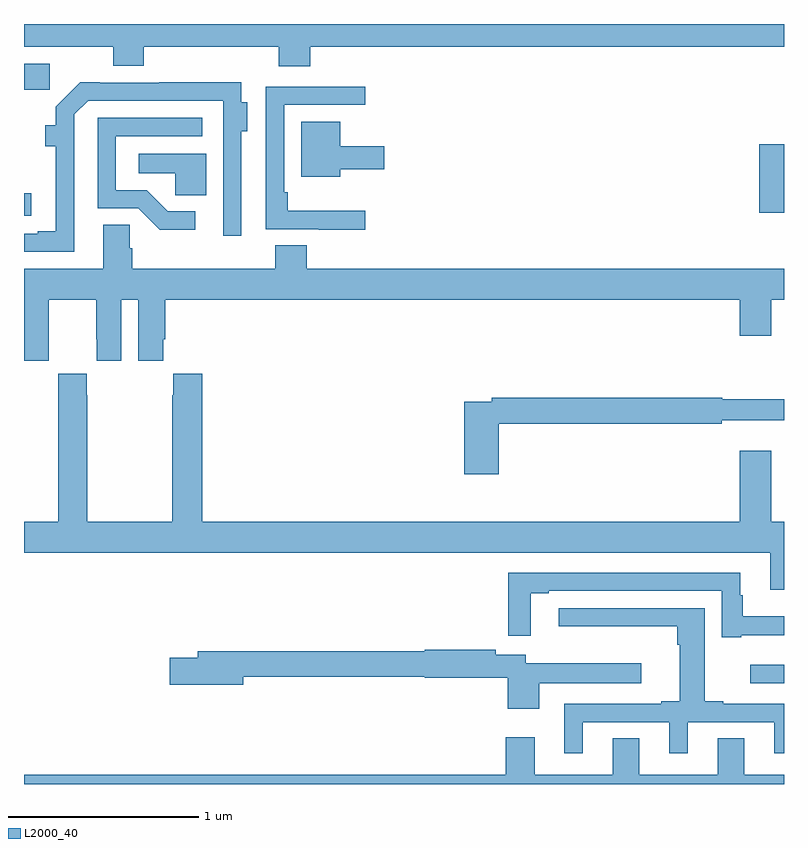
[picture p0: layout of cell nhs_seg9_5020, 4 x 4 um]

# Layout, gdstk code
import gdstk
lib = gdstk.Library(unit=1e-6, precision=1e-09)
def R(c, l, rs):  # rectangles x0, y0, x1, y1
    for r in rs: c.add(gdstk.rectangle(r[:2], r[2:], *l))
def P(c, l, *ps):  # polygons
    for p in ps: c.add(gdstk.Polygon(p, *l))
L2000_40 = (2000, 40)

nhs_seg9_5020 = lib.new_cell('nhs_seg9_5020')
R(nhs_seg9_5020, L2000_40, [(404.823,1233.03,405,1233.127), (401,1235.49,401.038,1235.61), (404.87,1235.506,405,1235.866), (401,1236.153,401.136,1236.292)])
P(nhs_seg9_5020, L2000_40, [(402.506,1236.38),(405,1236.38),(405,1236.5),(401,1236.5),(401,1236.38),(401.47,1236.38),(401.47,1236.281),(401.63,1236.281),(401.63,1236.38),(402.341,1236.38),(402.341,1236.278),(402.506,1236.278)],
  [(401.265,1236.024),(401.337,1236.096),(402.048,1236.096),(402.048,1235.385),(402.144,1235.385),(402.144,1235.936),(402.175,1235.936),(402.175,1236.088),(402.144,1236.088),(402.144,1236.194),(401.713,1236.194),(401.713,1236.192),(401.398,1236.192),(401.398,1236.194),(401.297,1236.194),(401.168,1236.064),(401.168,1235.966),(401.111,1235.966),(401.111,1235.856),(401.168,1235.856),(401.168,1235.41),(401.072,1235.41),(401.072,1235.397),(401,1235.397),(401,1235.301),(401.265,1235.301)],
  [(402.796,1235.518),(402.389,1235.518),(402.389,1235.614),(402.369,1235.614),(402.369,1236.075),(402.796,1236.075),(402.796,1236.171),(402.273,1236.171),(402.273,1235.421),(402.551,1235.421),(402.551,1235.417),(402.796,1235.417)],
  [(401.902,1235.514),(401.757,1235.514),(401.646,1235.625),(401.484,1235.625),(401.484,1235.91),(401.938,1235.91),(401.938,1236.006),(401.388,1236.006),(401.388,1235.529),(401.601,1235.529),(401.714,1235.417),(401.902,1235.417)],
  [(402.664,1235.735),(402.895,1235.735),(402.895,1235.857),(402.664,1235.857),(402.664,1235.986),(402.458,1235.986),(402.458,1235.696),(402.664,1235.696)],
  [(401.959,1235.818),(401.604,1235.818),(401.604,1235.714),(401.796,1235.714),(401.796,1235.6),(401.959,1235.6)],
  [(401.13,1234.84),(401.131,1234.84),(401.131,1235.048),(401.381,1235.048),(401.381,1234.84),(401.382,1234.84),(401.382,1234.728),(401.512,1234.728),(401.512,1235.048),(401.6,1235.048),(401.6,1234.728),(401.734,1234.728),(401.734,1234.84),(401.744,1234.84),(401.744,1235.048),(404.768,1235.048),(404.768,1234.86),(404.932,1234.86),(404.932,1235.048),(405,1235.048),(405,1235.212),(402.488,1235.212),(402.488,1235.336),(402.323,1235.336),(402.323,1235.212),(401.57,1235.212),(401.57,1235.321),(401.556,1235.321),(401.556,1235.444),(401.417,1235.444),(401.417,1235.212),(401,1235.212),(401,1234.728),(401.13,1234.728)],
  [(405,1233.88),(404.932,1233.88),(404.932,1234.255),(404.768,1234.255),(404.768,1233.88),(401.939,1233.88),(401.939,1234.66),(401.785,1234.66),(401.785,1234.547),(401.779,1234.547),(401.779,1233.88),(401.334,1233.88),(401.334,1234.547),(401.331,1234.547),(401.331,1234.66),(401.181,1234.66),(401.181,1234.547),(401.179,1234.547),(401.179,1233.88),(401,1233.88),(401,1233.716),(404.927,1233.716),(404.927,1233.522),(405,1233.522)],
  [(403.499,1234.396),(404.672,1234.396),(404.672,1234.415),(405,1234.415),(405,1234.525),(404.676,1234.525),(404.676,1234.532),(403.462,1234.532),(403.462,1234.512),(403.316,1234.512),(403.316,1234.131),(403.499,1234.131)],
  [(404.776,1233.284),(405,1233.284),(405,1233.382),(404.782,1233.382),(404.782,1233.494),(404.77,1233.494),(404.77,1233.612),(403.549,1233.612),(403.549,1233.279),(403.666,1233.279),(403.666,1233.504),(403.762,1233.504),(403.762,1233.516),(404.673,1233.516),(404.673,1233.273),(404.776,1233.273)],
  [(403.942,1232.826),(404.396,1232.826),(404.396,1232.661),(404.494,1232.661),(404.494,1232.826),(404.948,1232.826),(404.948,1232.661),(405,1232.661),(405,1232.922),(404.68,1232.922),(404.68,1232.935),(404.584,1232.935),(404.584,1233.426),(403.815,1233.426),(403.815,1233.329),(404.438,1233.329),(404.438,1233.233),(404.45,1233.233),(404.45,1232.935),(404.354,1232.935),(404.354,1232.922),(403.844,1232.922),(403.844,1232.661),(403.942,1232.661)],
  [(403.711,1233.029),(404.248,1233.029),(404.248,1233.136),(403.641,1233.136),(403.641,1233.181),(403.482,1233.181),(403.482,1233.206),(403.11,1233.206),(403.11,1233.2),(401.915,1233.2),(401.915,1233.164),(401.766,1233.164),(401.766,1233.022),(402.154,1233.022),(402.154,1233.064),(403.11,1233.064),(403.11,1233.059),(403.545,1233.059),(403.545,1232.895),(403.711,1232.895)],
  [(405,1232.548),(404.791,1232.548),(404.791,1232.741),(404.651,1232.741),(404.651,1232.548),(404.239,1232.548),(404.239,1232.741),(404.099,1232.741),(404.099,1232.548),(403.687,1232.548),(403.687,1232.746),(403.535,1232.746),(403.535,1232.548),(401,1232.548),(401,1232.5),(405,1232.5)])

lib.write_gds('nhs_seg9_5020.gds')
